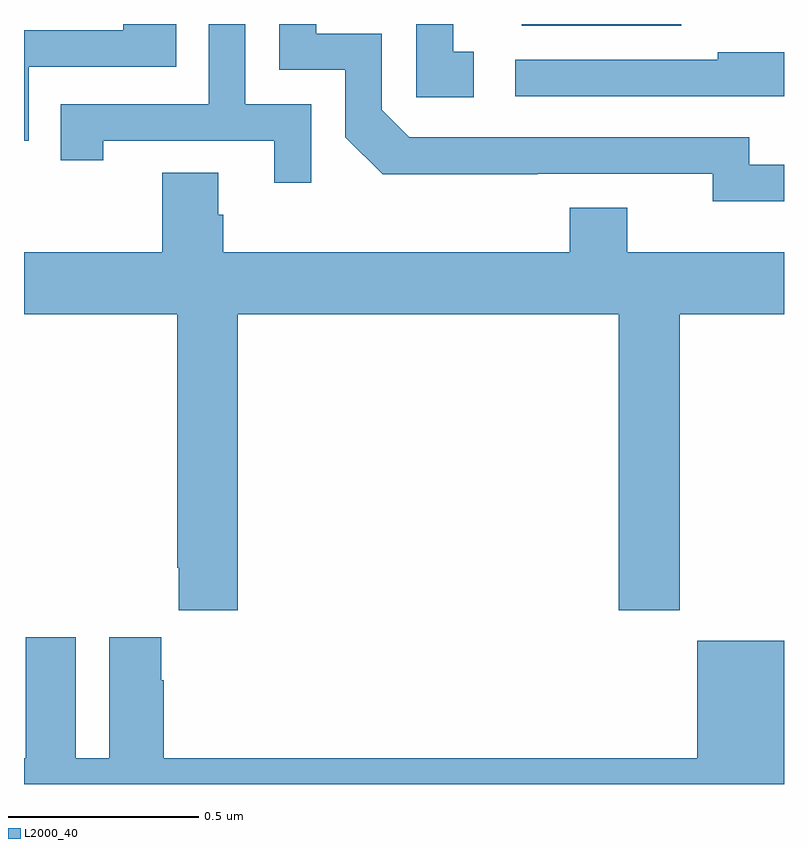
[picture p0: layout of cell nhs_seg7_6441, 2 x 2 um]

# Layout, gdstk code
import gdstk
lib = gdstk.Library(unit=1e-6, precision=1e-09)
def R(c, l, rs):  # rectangles x0, y0, x1, y1
    for r in rs: c.add(gdstk.rectangle(r[:2], r[2:], *l))
def P(c, l, *ps):  # polygons
    for p in ps: c.add(gdstk.Polygon(p, *l))
L2000_40 = (2000, 40)

nhs_seg7_6441 = lib.new_cell('nhs_seg7_6441')
R(nhs_seg7_6441, L2000_40, [(199.31,1047.995,199.729,1048)])
P(nhs_seg7_6441, L2000_40, [(198.756,1047.789),(198.582,1047.789),(198.582,1048),(198.486,1048),(198.486,1047.789),(198.097,1047.789),(198.097,1047.642),(198.208,1047.642),(198.208,1047.693),(198.659,1047.693),(198.659,1047.582),(198.756,1047.582)],
  [(200,1047.63),(199.908,1047.63),(199.908,1047.702),(199.014,1047.702),(198.942,1047.774),(198.942,1047.975),(198.769,1047.975),(198.769,1048),(198.672,1048),(198.672,1047.879),(198.846,1047.879),(198.846,1047.702),(198.944,1047.605),(199.352,1047.605),(199.352,1047.606),(199.812,1047.606),(199.812,1047.533),(200,1047.533)],
  [(199.183,1047.927),(199.13,1047.927),(199.13,1048),(199.032,1048),(199.032,1047.807),(199.183,1047.807)],
  [(198.012,1047.888),(198.401,1047.888),(198.401,1048),(198.261,1048),(198.261,1047.984),(198,1047.984),(198,1047.693),(198.012,1047.693)],
  [(200,1047.926),(199.825,1047.926),(199.825,1047.906),(199.293,1047.906),(199.293,1047.81),(200,1047.81)],
  [(198.563,1047.236),(199.565,1047.236),(199.565,1046.457),(199.725,1046.457),(199.725,1047.236),(200,1047.236),(200,1047.4),(199.588,1047.4),(199.588,1047.517),(199.436,1047.517),(199.436,1047.4),(198.524,1047.4),(198.524,1047.498),(198.511,1047.498),(198.511,1047.608),(198.364,1047.608),(198.364,1047.4),(198,1047.4),(198,1047.236),(198.403,1047.236),(198.403,1046.569),(198.407,1046.569),(198.407,1046.457),(198.563,1046.457)],
  [(200,1046.377),(199.772,1046.377),(199.772,1046.068),(198.368,1046.068),(198.368,1046.273),(198.361,1046.273),(198.361,1046.386),(198.224,1046.386),(198.224,1046.068),(198.136,1046.068),(198.136,1046.386),(198.005,1046.386),(198.005,1046.068),(198,1046.068),(198,1046),(200,1046)])

lib.write_gds('nhs_seg7_6441.gds')
